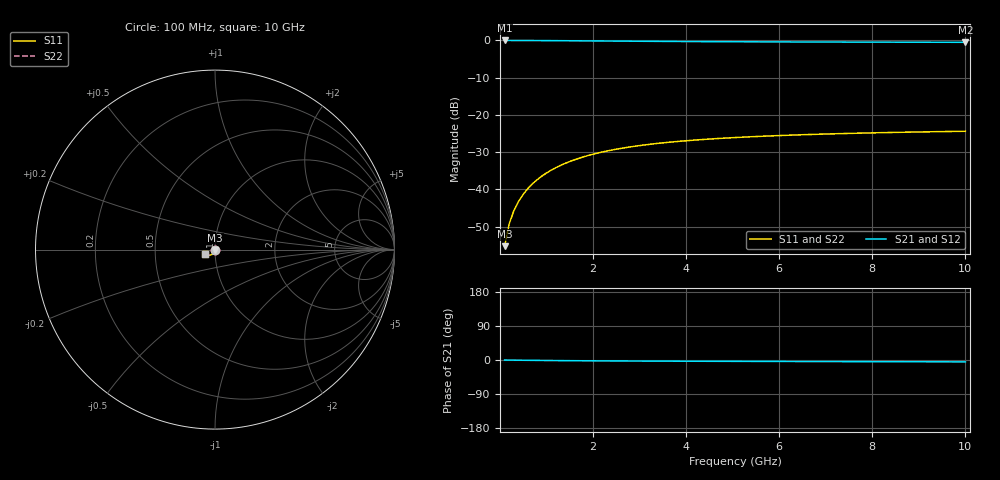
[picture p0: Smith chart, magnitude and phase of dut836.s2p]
! Touchstone file exported from HFSS 2024.1.0
!  File:  C:/UserFiles/LocalFiles/RDL_TSV_Batchsim/temp_TSV1_836_1779879632.aedt
!  Generated:  07:06:02 PM May 27, 2026
!  Design:  TSV1
!  Project:  temp_TSV1_836_1779879632
!  Setup:  Setup1
!  Solution:  Sweep
! Variables:
!  dtsv = 14.74um
!  hbump = 3um
!  htsv = 72.61um
!  lrdl = 252.1521522um
!  p = 40
!  p1 = 48.09um
!  t = 500um
!  trdl = 3um
!  wrdl = 24.89489489um
# GHz S MA R 50.000000
! Terminal data exported
! Port[1] = TSV22_T1
! Port[2] = TSV22_T2
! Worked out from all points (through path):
!   100 points, 100 MHz to 10 GHz, reference 50 ohm
!   highest |S21| = 0.00 dB at 100 MHz (marker M1); lowest = -0.5 dB at 10 GHz (marker M2)
!   lowest |S11| = -55.3 dB at 100 MHz (marker M3), VSWR 1.00, Z = 50 - j0.172 ohm
!   |S11| at or under -10 dB: start of sweep to end of sweep
!   |S22| runs from -55.3 to -24.4 dB; largest |S21 - S12| = 6.1e-15
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0.1  0.001721 -89.1  0.9999 -0.1  0.9999 -0.1  0.001721 -89.1
! Gamma 0 0 0 0
! Port Impedance 50 0 50 0
0.2  0.003456 -92.1  0.9997 -0.3  0.9997 -0.3  0.003456 -92.1
0.3  0.005178 -94.2  0.9994 -0.4  0.9994 -0.4  0.005178 -94.2
0.4  0.006884 -96.1  0.9991 -0.5  0.9991 -0.5  0.006884 -96.1
0.5  0.00857 -97.8  0.9986 -0.7  0.9986 -0.7  0.00857 -97.8
0.6  0.01023 -99.5  0.9981 -0.8  0.9981 -0.8  0.01023 -99.5
0.7  0.01187 -101.2  0.9975 -0.9  0.9975 -0.9  0.01187 -101.2
0.8  0.01347 -102.8  0.9968 -1.0  0.9968 -1.0  0.01347 -102.8
0.9  0.01504 -104.4  0.996 -1.2  0.996 -1.2  0.01504 -104.4
1.1  0.01807 -107.4  0.9943 -1.4  0.9943 -1.4  0.01807 -107.4
1.4  0.0223 -111.8  0.9915 -1.7  0.9915 -1.7  0.0223 -111.8
1.6  0.02491 -114.5  0.9895 -1.9  0.9895 -1.9  0.02491 -114.5
1.8  0.02734 -117.0  0.9874 -2.0  0.9874 -2.0  0.02734 -117.0
2.1  0.03068 -120.6  0.9843 -2.3  0.9843 -2.3  0.03068 -120.6
2.5  0.03457 -124.8  0.9803 -2.5  0.9803 -2.5  0.03457 -124.8
2.9  0.03791 -128.6  0.9765 -2.7  0.9765 -2.7  0.03791 -128.6
3.4  0.04144 -132.6  0.9722 -3.0  0.9722 -3.0  0.04144 -132.6
4.2  0.04592 -137.9  0.9662 -3.3  0.9662 -3.3  0.04592 -137.9
5.1  0.04976 -142.7  0.9607 -3.6  0.9607 -3.6  0.04976 -142.7
6.7  0.05458 -149.0  0.9535 -4.0  0.9535 -4.0  0.05458 -149.0
8.4  0.058 -153.8  0.9482 -4.5  0.9482 -4.5  0.058 -153.8
10  0.06023 -157.4  0.9446 -4.9  0.9446 -4.9  0.06023 -157.4
